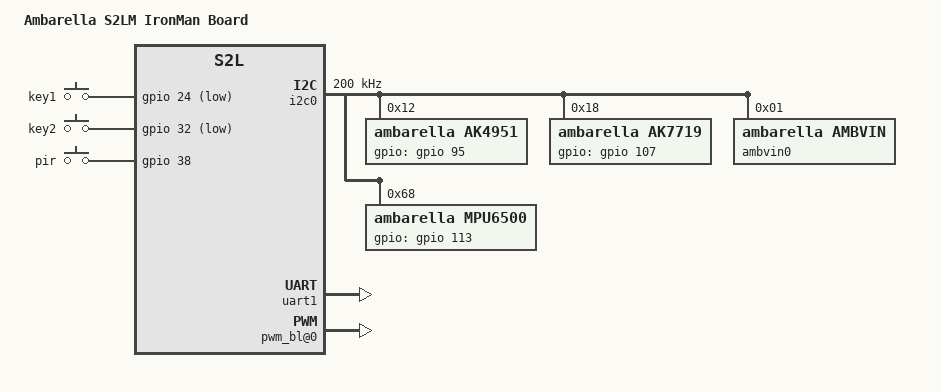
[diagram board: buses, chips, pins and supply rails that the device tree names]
/*
 * Copyright (C) 2013 Ambarella,Inc. - http://www.ambarella.com/
 * Author: Cao Rongrong <rrcao@ambarella.com>
 *
 * This program is free software; you can redistribute it and/or modify
 * it under the terms of the GNU General Public License version 2 as
 * published by the Free Software Foundation.
 */
/dts-v1/;

/include/ "ambarella-s2l.dtsi"

/ {
	model = "Ambarella S2LM IronMan Board";
	compatible = "ambarella,s2lmironman", "ambarella,s2l";

	chosen {
		bootargs = "console=ttyS0 ubi.mtd=lnx root=ubi0:rootfs rw rootfstype=ubifs init=/linuxrc";
	};

	apb@e8000000 {
		i2c0: i2c@e8003000 {
			clock-frequency = <200000>;
			status = "ok";

			ak4951: codec@12 {
				compatible = "ambarella,ak4951";
				reg = <0x12>;
				gpios = <&gpio 95 0x0>;
			};

			ak7719: codec@18 {
				compatible = "ambarella,ak7719";
				reg = <0x18>;
				gpios = <&gpio 107 0x0>;
			};

			ambvin0@01 {
				compatible = "ambarella,ambvin";
				reg = <0x01>;	/* fake address, will be overwritten in runtime */
			};

			mpu6500@68 {
				compatible = "ambarella,mpu6500";
				reg = <0x68>;
				gpios = <&gpio 113 0x0>;
			};

	        };

		ir@e8006000 {
			status = "disabled";
		};
	};

	ahb@e0000000 {
		sdmmc0@e0002000 {
			slot@0 {
				/* pwr-gpios = <&pca9539 14 0x1>; */
				max-frequency = <50000000>;
				bus-width = <4>;
				no-1-8-v = <1>;
				/* broken-cd; */
				/* cap-sdio-irq; */
			};
		};

		uart1: uart@e0032000 {
			compatible = "ambarella,uart";
			reg = <0xe0032000 0x1000>;
			interrupts = <25 0x4>;
			pinctrl-names = "default";
			pinctrl-0 = <&uart1_pins_d &uart1_flow_pins_e>;
			status = "ok";
		};
		mac0: ethernet@e000e000 {
			phy@0 {
				rst-gpios = <&gpio 104 0x0>;
				amb,clk-invert;
			};
		};
	};

	rct@ec170000 {
		usbphy: usbphy@ec170050 {
			/* high will trigger the ocp interrupt */
			amb,ocp-polarity = <0>;
			pinctrl-names = "default";
			pinctrl-0 = <&usb_host0_pins>;
			md-gpios = <&gpio 31 0x1>;
			hub-gpios = <&gpio 105 0x0>;
		};
	};

	gpio_keys {
		compatible = "gpio-keys";
		#address-cells = <1>;
		#size-cells = <0>;

		key1_button {
			label = "key1";
			gpios = <&gpio 24 1>;
			debounce-interval = <10>;
			linux,code = <116>;	/*KEY_POWER*/
		};

		key2_button {
			label = "key2";
			gpios = <&gpio 32 1>;
			debounce-interval = <10>;
			linux,code = <238>;	/*KEY_POWER*/
		};

	};

	pir {
		compatible = "gpio-keys";
		#address-cells = <1>;
		#size-cells = <0>;

		PIR {
			label = "pir";
			gpios = <&gpio 38 0>;
			debounce-interval = <10>;
			linux,code = <175>;	/*KEY_MOVE*/
		};
	};

	sound {
		compatible = "ambarella,audio-board";
		amb,model = "ak4951 @ Ambarella";
		amb,i2s-controllers = <&i2s0>;
		amb,audio-codec = <&ak4951>;
		amb,dummy-codec = <&dummycodec>;
		amb,dai_fmt = <0>;
		amb,clk_fmt = <1>;
		amb,dummy_dai_fmt = <4>;
		amb,codec-name = "ak4951";
		amb,stream-name = "ak4951 PCM";
		amb,codec-dai-name = "ak4951-hifi";
		amb,audio-routing = "LIN2", "Mic internal",
				    "RIN2", "Mic external",
				    "LIN3", "Line In",
				    "RIN3", "Line In",
				    "Line Out", "SPKLO",
				    "Line Out", "SPKLO",
				    "HP Jack", "HPR",
				    "HP Jack", "HPL",
				    "Speaker", "SPKLO",
				    "Speaker", "SPKLO";
	};

	bogus_bus {
		pwm_bl@0 {
			compatible = "pwm-backlight";
			reg = <0>;
			pwms = <&pwm 0 100000 0>;
			pinctrl-names = "default";
			pinctrl-0 = <&pwm0_pins_c>;
			brightness-levels =
						<0  3   6   9   12  15  18  21
						24  27  30  33  36  39  42  45
						48  51  54  57  60  63  66  69
						72  75  78  81  84  87  90  92
						94  96  98  100 102 104 106 108
						110 112 114 116 118 120 122 124
						126 128 130 132 134 136 138 140
						142 144 146 148 150 152 154 156
						158 160 162 164 166 168 170 172
						174 177 180 183 186 189 192 195
						198 201 204 207 210 213 216 219
						222 225 228 231 234 237 240 243
						246 249 252 255>;
			default-brightness-level = <0>;
		};
	};

	iav {
		compatible = "ambarella,iav";
		/* node for vin controller */
		vinc0 {
		vinrst-gpios = <&gpio 98 0>;
		vinpwr-gpios = <&gpio 100 1>;
		};
	};
};

